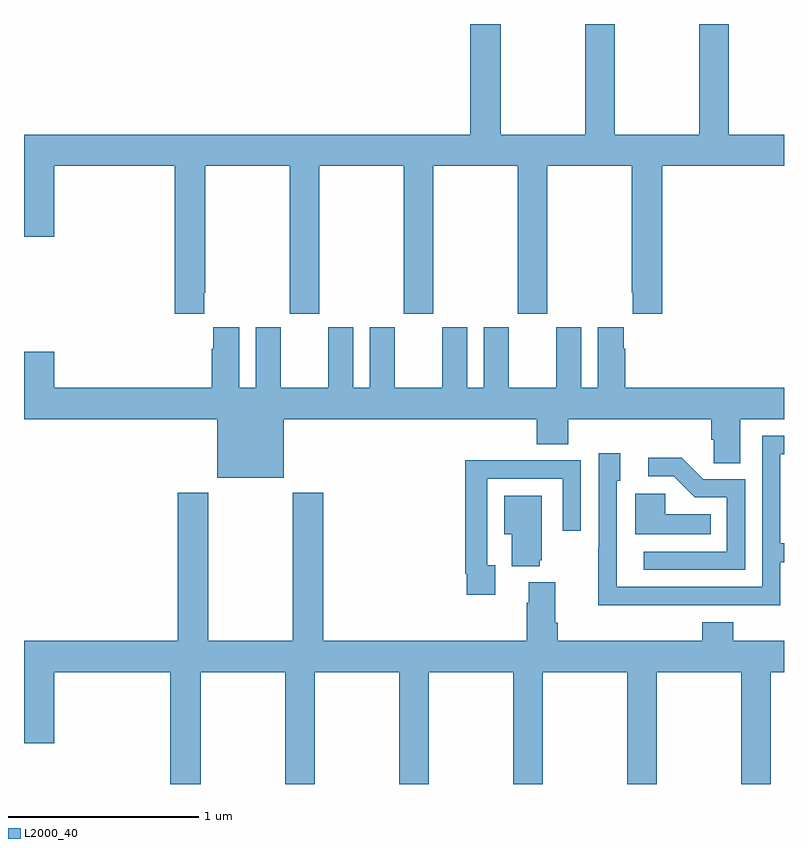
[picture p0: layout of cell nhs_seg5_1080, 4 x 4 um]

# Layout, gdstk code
import gdstk
lib = gdstk.Library(unit=1e-6, precision=1e-09)
def P(c, l, *ps):  # polygons
    for p in ps: c.add(gdstk.Polygon(p, *l))
L2000_40 = (2000, 40)

nhs_seg5_1080 = lib.new_cell('nhs_seg5_1080')
P(nhs_seg5_1080, L2000_40, [(177.949,897.385),(177.954,897.385),(177.954,898.052),(178.399,898.052),(178.399,897.273),(178.554,897.273),(178.554,898.052),(178.999,898.052),(178.999,897.273),(179.154,897.273),(179.154,898.052),(179.599,898.052),(179.599,897.273),(179.754,897.273),(179.754,898.052),(180.199,898.052),(180.199,897.385),(180.203,897.385),(180.203,897.273),(180.359,897.273),(180.359,898.052),(181,898.052),(181,898.216),(180.708,898.216),(180.708,898.799),(180.553,898.799),(180.553,898.216),(180.108,898.216),(180.108,898.799),(179.953,898.799),(179.953,898.216),(179.508,898.216),(179.508,898.799),(179.348,898.799),(179.348,898.216),(177,898.216),(177,897.678),(177.16,897.678),(177.16,898.052),(177.794,898.052),(177.794,897.273),(177.949,897.273)],
  [(178.366,896.72),(179.699,896.72),(179.699,896.587),(179.864,896.587),(179.864,896.72),(180.617,896.72),(180.617,896.611),(180.63,896.611),(180.63,896.488),(180.769,896.488),(180.769,896.72),(181,896.72),(181,896.884),(180.164,896.884),(180.164,897.089),(180.157,897.089),(180.157,897.202),(180.02,897.202),(180.02,896.884),(179.932,896.884),(179.932,897.202),(179.801,897.202),(179.801,896.884),(179.551,896.884),(179.551,897.202),(179.42,897.202),(179.42,896.884),(179.332,896.884),(179.332,897.202),(179.201,897.202),(179.201,896.884),(178.951,896.884),(178.951,897.202),(178.82,897.202),(178.82,896.884),(178.732,896.884),(178.732,897.202),(178.601,897.202),(178.601,896.884),(178.351,896.884),(178.351,897.202),(178.22,897.202),(178.22,896.884),(178.132,896.884),(178.132,897.202),(177.995,897.202),(177.995,897.089),(177.989,897.089),(177.989,896.884),(177.16,896.884),(177.16,897.073),(177,897.073),(177,896.72),(178.016,896.72),(178.016,896.411),(178.366,896.411)],
  [(180.485,895.74),(180.981,895.74),(180.981,895.965),(181,895.965),(181,896.066),(180.981,896.066),(180.981,896.535),(181,896.535),(181,896.631),(180.885,896.631),(180.885,895.836),(180.121,895.836),(180.121,896.09),(180.12,896.09),(180.12,896.394),(180.139,896.394),(180.139,896.539),(180.024,896.539),(180.024,896.045),(180.022,896.045),(180.022,895.739),(180.485,895.739)],
  [(180.795,896.403),(180.576,896.403),(180.463,896.516),(180.285,896.516),(180.285,896.418),(180.419,896.418),(180.53,896.307),(180.699,896.307),(180.699,896.022),(180.261,896.022),(180.261,895.926),(180.795,895.926)],
  [(179.479,895.95),(179.439,895.95),(179.439,896.406),(179.835,896.406),(179.835,896.133),(179.931,896.133),(179.931,896.502),(179.615,896.502),(179.615,896.504),(179.323,896.504),(179.323,895.906),(179.331,895.906),(179.331,895.794),(179.479,895.794)],
  [(177.93,895.388),(178.375,895.388),(178.375,894.799),(178.53,894.799),(178.53,895.388),(178.975,895.388),(178.975,894.799),(179.13,894.799),(179.13,895.388),(179.575,895.388),(179.575,894.799),(179.73,894.799),(179.73,895.388),(180.175,895.388),(180.175,894.799),(180.33,894.799),(180.33,895.388),(180.775,895.388),(180.775,894.799),(180.93,894.799),(180.93,895.388),(181,895.388),(181,895.552),(180.734,895.552),(180.734,895.651),(180.569,895.651),(180.569,895.552),(179.81,895.552),(179.81,895.648),(179.797,895.648),(179.797,895.861),(179.657,895.861),(179.657,895.754),(179.645,895.754),(179.645,895.552),(178.574,895.552),(178.574,896.332),(178.414,896.332),(178.414,895.552),(177.969,895.552),(177.969,896.332),(177.809,896.332),(177.809,895.552),(177,895.552),(177,895.014),(177.16,895.014),(177.16,895.388),(177.77,895.388),(177.77,894.799),(177.93,894.799)],
  [(180.614,896.218),(180.375,896.218),(180.375,896.326),(180.218,896.326),(180.218,896.114),(180.614,896.114)],
  [(179.714,895.977),(179.725,895.977),(179.725,896.317),(179.528,896.317),(179.528,896.114),(179.567,896.114),(179.567,895.946),(179.714,895.946)])

lib.write_gds('nhs_seg5_1080.gds')
